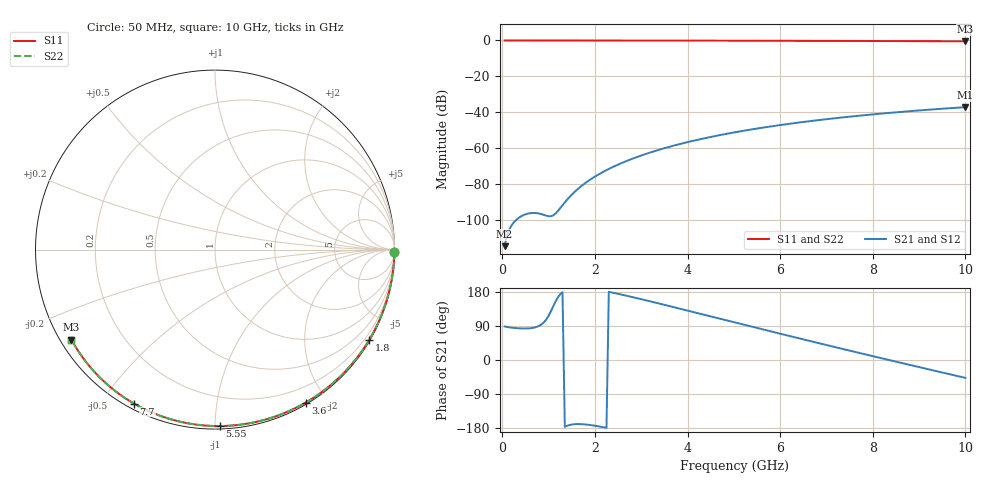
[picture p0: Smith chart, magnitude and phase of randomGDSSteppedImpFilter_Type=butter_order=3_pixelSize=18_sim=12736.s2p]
! freq	dB(S11)	phase(S11)	dB(S12)	phase(S12)
!  dB(S21)	phase(S21)	dB(S22)	phase(S22)
!S-par simulation data
#  GHz  S  DB  R 50
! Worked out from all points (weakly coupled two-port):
!   200 points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, 50 MHz to 10 GHz, reference 50 ohm
!   highest |S21| = -37.22 dB at 10 GHz (marker M1); lowest = -114.8 dB at 50 MHz (marker M2)
!   lowest |S11| = -0.5 dB at 10 GHz (marker M3), VSWR 34.87, Z = 1.55 - j14.4 ohm
!   |S11| at or under -10 dB: nowhere
!   |S22| runs from -0.5 to 0.0 dB; largest |S21 - S12| = 0
!   S11 on the Smith chart (normalised r, x): 50 MHz: open; 1.8 GHz: 0.03, -3.67; 3.6 GHz: 0.02, -1.75; 5.55 GHz: 0.02, -1.03; 7.7 GHz: 0.02, -0.60; 10 GHz: 0.03, -0.29
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0.05  -0.00 -0.9  -114.78 88.5  -114.78 88.5  -0.00 -0.9
0.45  -0.01 -7.7  -97.54 83.2  -97.54 83.2  -0.01 -7.7
0.9  -0.02 -15.4  -97.35 99.7  -97.35 99.7  -0.02 -15.4
1.3  -0.03 -22.1  -91.93 179.1  -91.93 179.1  -0.03 -22.1
1.75  -0.04 -29.6  -80.37 -169.6  -80.37 -169.6  -0.04 -29.6
1.8  -0.04 -30.5  -79.41 -170.2  -79.41 -170.2  -0.04 -30.4
1.95  -0.04 -32.9  -76.77 -172.5  -76.77 -172.5  -0.04 -32.9
2.1  -0.05 -35.4  -74.45 -175.4  -74.45 -175.4  -0.04 -35.4
2.3  -0.05 -38.7  -71.70 179.8  -71.70 179.8  -0.05 -38.7
2.5  -0.05 -41.9  -69.27 174.6  -69.27 174.6  -0.05 -41.9
2.9  -0.06 -48.3  -65.11 163.4  -65.11 163.4  -0.06 -48.3
3.4  -0.07 -56.2  -60.87 148.6  -60.87 148.6  -0.07 -56.2
3.6  -0.08 -59.4  -59.39 142.6  -59.39 142.6  -0.08 -59.4
4.3  -0.10 -70.1  -54.95 121.3  -54.95 121.3  -0.10 -70.0
5.05  -0.12 -81.1  -51.11 98.3  -51.11 98.3  -0.12 -81.1
5.55  -0.14 -88.3  -48.95 83.1  -48.95 83.1  -0.14 -88.3
6.1  -0.17 -96.1  -46.85 66.4  -46.85 66.4  -0.17 -96.1
6.7  -0.20 -104.4  -44.84 48.4  -44.84 48.4  -0.20 -104.4
7.7  -0.27 -117.8  -42.00 18.8  -42.00 18.8  -0.27 -117.8
8.35  -0.32 -126.3  -40.43 -0.1  -40.43 -0.1  -0.32 -126.3
9.2  -0.41 -137.4  -38.65 -24.5  -38.65 -24.5  -0.41 -137.4
10  -0.50 -147.9  -37.22 -47.2  -37.22 -47.2  -0.50 -147.9
